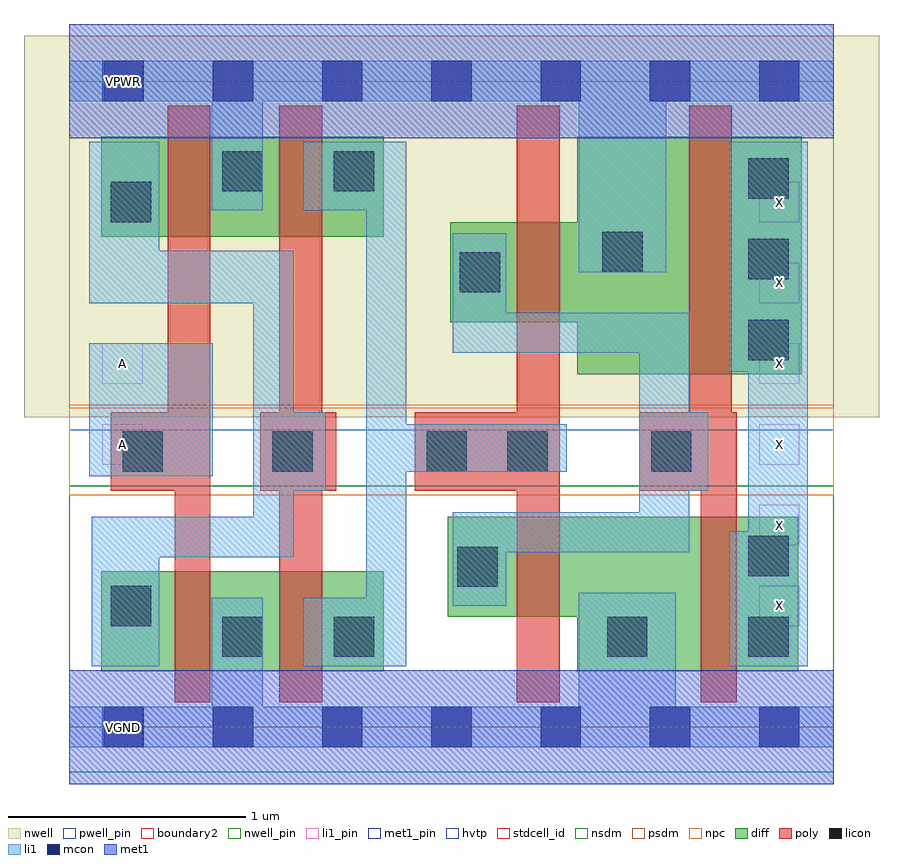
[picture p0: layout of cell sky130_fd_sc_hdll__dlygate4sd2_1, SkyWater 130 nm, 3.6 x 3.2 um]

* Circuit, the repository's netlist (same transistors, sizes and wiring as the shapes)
* Copyright 2020 The SkyWater PDK Authors
*
* Licensed under the Apache License, Version 2.0 (the "License");
* you may not use this file except in compliance with the License.
* You may obtain a copy of the License at
*
*     https://www.apache.org/licenses/LICENSE-2.0
*
* Unless required by applicable law or agreed to in writing, software
* distributed under the License is distributed on an "AS IS" BASIS,
* WITHOUT WARRANTIES OR CONDITIONS OF ANY KIND, either express or implied.
* See the License for the specific language governing permissions and
* limitations under the License.
*
* SPDX-License-Identifier: Apache-2.0

.SUBCKT sky130_fd_sc_hdll__dlygate4sd2_1 A VGND VNB VPB VPWR X
*.PININFO A:I VGND:I VNB:I VPB:I VPWR:I X:O
MMIN1 Ab net34 VGND VNB sky130_fd_pr__nfet_01v8 m=1 w=0.42U l=0.18U mult=1 sa=0.265
+ sb=0.265 sd=0.28 area=0.063 perim=1.14
MMIN2 X Ab VGND VNB sky130_fd_pr__nfet_01v8 m=1 w=0.65U l=0.15U mult=1 sa=0.265
+ sb=0.265 sd=0.28 area=0.063 perim=1.14
MI6 net34 net30 VGND VNB sky130_fd_pr__nfet_01v8 m=1 w=0.42U l=0.18U mult=1 sa=0.265
+ sb=0.265 sd=0.28 area=0.063 perim=1.14
MI9 net30 A VGND VNB sky130_fd_pr__nfet_01v8 m=1 w=0.42U l=0.15U mult=1 sa=0.265
+ sb=0.265 sd=0.28 area=0.063 perim=1.14
MMIP1 Ab net34 VPWR VPB sky130_fd_pr__pfet_01v8_hvt m=1 w=0.42U l=0.18U mult=1
+ sa=0.265 sb=0.265 sd=0.28 area=0.063 perim=1.14
MMIP2 X Ab VPWR VPB sky130_fd_pr__pfet_01v8_hvt m=1 w=1.0U l=0.18U mult=1 sa=0.265
+ sb=0.265 sd=0.28 area=0.063 perim=1.14
MI7 net34 net30 VPWR VPB sky130_fd_pr__pfet_01v8_hvt m=1 w=0.42U l=0.18U mult=1
+ sa=0.265 sb=0.265 sd=0.28 area=0.063 perim=1.14
MI8 net30 A VPWR VPB sky130_fd_pr__pfet_01v8_hvt m=1 w=0.42U l=0.18U mult=1 sa=0.265
+ sb=0.265 sd=0.28 area=0.063 perim=1.14
.ENDS sky130_fd_sc_hdll__dlygate4sd2_1

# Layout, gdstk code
import gdstk
lib = gdstk.Library(unit=1e-6, precision=1e-09)
def R(c, l, rs):  # rectangles x0, y0, x1, y1
    for r in rs: c.add(gdstk.rectangle(r[:2], r[2:], *l))
def A(c, l, x, y, w, h, nx, ny, dx, dy):  # array of equal rectangles
    R(c, l, [(x+i*dx, y+j*dy, x+i*dx+w, y+j*dy+h) for i in range(nx) for j in range(ny)])
def P(c, l, *ps):  # polygons
    for p in ps: c.add(gdstk.Polygon(p, *l))
nwell_pin = (64, 16)
nwell = (64, 20)
diff = (65, 20)
poly = (66, 20)
licon = (66, 44)
li1_pin = (67, 16)
li1 = (67, 20)
mcon = (67, 44)
met1_pin = (68, 16)
met1 = (68, 20)
hvtp = (78, 44)
stdcell_id = (81, 4)
nsdm = (93, 44)
psdm = (94, 20)
npc = (95, 20)
pwell_pin = (122, 16)
boundary2 = (236, 0)

sky130_fd_sc_hdll__dlyga = lib.new_cell('sky130_fd_sc_hdll__dlygate4sd2_1')
R(sky130_fd_sc_hdll__dlyga, nwell_pin, [(0.14,2.635,0.31,2.805)])
R(sky130_fd_sc_hdll__dlyga, nwell, [(-0.19,1.305,3.41,2.91)])
R(sky130_fd_sc_hdll__dlyga, diff, [(0.135,0.235,1.325,0.655), (0.135,2.065,1.325,2.485)])
P(sky130_fd_sc_hdll__dlyga, diff, [(3.085,2.485),(2.14,2.485),(2.14,2.125),(1.605,2.125),(1.605,1.705),(2.14,1.705),(2.14,1.485),(3.085,1.485)],
  [(3.07,0.885),(1.595,0.885),(1.595,0.465),(2.14,0.465),(2.14,0.235),(3.07,0.235)])
P(sky130_fd_sc_hdll__dlyga, poly, [(0.595,2.615),(0.415,2.615),(0.415,1.325),(0.175,1.325),(0.175,0.995),(0.445,0.995),(0.445,0.105),(0.595,0.105)],
  [(1.125,1.325),(1.065,1.325),(1.065,2.615),(0.885,2.615),(0.885,1.325),(0.805,1.325),(0.805,0.995),(0.885,0.995),(0.885,0.105),(1.065,0.105),(1.065,0.995),(1.125,0.995)],
  [(2.065,2.615),(1.885,2.615),(1.885,1.325),(1.455,1.325),(1.455,0.995),(1.885,0.995),(1.885,0.105),(2.065,0.105)],
  [(2.81,1.325),(2.79,1.325),(2.79,2.615),(2.61,2.615),(2.61,1.325),(2.4,1.325),(2.4,0.995),(2.66,0.995),(2.66,0.105),(2.81,0.105)])
A(sky130_fd_sc_hdll__dlyga, licon, 2.86, 1.545, 0.17, 0.17, 1, 3, 0, 0.34)
R(sky130_fd_sc_hdll__dlyga, licon, [(0.645,0.295,0.815,0.465), (1.115,0.295,1.285,0.465), (2.265,0.295,2.435,0.465), (2.86,0.295,3.03,0.465), (0.175,0.425,0.345,0.595), (1.635,0.59,1.805,0.76), (2.86,0.635,3.03,0.805), (0.225,1.075,0.395,1.245), (0.855,1.075,1.025,1.245), (1.505,1.075,1.675,1.245), (1.845,1.075,2.015,1.245), (2.45,1.075,2.62,1.245), (1.645,1.83,1.815,2), (2.245,1.915,2.415,2.085), (0.175,2.125,0.345,2.295), (0.645,2.255,0.815,2.425), (1.115,2.255,1.285,2.425)])
A(sky130_fd_sc_hdll__dlyga, li1_pin, 2.905, 0.425, 0.17, 0.17, 1, 6, 0, 0.34)
R(sky130_fd_sc_hdll__dlyga, li1_pin, [(0.14,1.105,0.31,1.275), (0.14,1.445,0.31,1.615)])
R(sky130_fd_sc_hdll__dlyga, li1, [(0.085,1.055,0.605,1.615)])
P(sky130_fd_sc_hdll__dlyga, li1, [(1.08,1.325),(0.945,1.325),(0.945,2.005),(0.38,2.005),(0.38,2.465),(0.085,2.465),(0.085,1.785),(0.775,1.785),(0.775,0.885),(0.095,0.885),(0.095,0.255),(0.38,0.255),(0.38,0.715),(0.945,0.715),(0.945,0.995),(1.08,0.995)],
  [(2.095,1.275),(1.42,1.275),(1.42,2.465),(0.985,2.465),(0.985,2.175),(1.25,2.175),(1.25,0.545),(0.985,0.545),(0.985,0.255),(1.42,0.255),(1.42,1.075),(2.095,1.075)],
  [(2.69,1.325),(2.61,1.325),(2.61,1.745),(1.84,1.745),(1.84,2.08),(1.615,2.08),(1.615,1.575),(2.4,1.575),(2.4,0.905),(1.615,0.905),(1.615,0.51),(1.84,0.51),(1.84,0.735),(2.61,0.735),(2.61,0.995),(2.69,0.995)],
  [(3.11,2.465),(2.78,2.465),(2.78,1.495),(2.86,1.495),(2.86,0.825),(2.78,0.825),(2.78,0.255),(3.11,0.255)],
  [(3.22,2.805),(0,2.805),(0,2.635),(0.6,2.635),(0.6,2.175),(0.815,2.175),(0.815,2.635),(2.145,2.635),(2.145,1.915),(2.515,1.915),(2.515,2.635),(3.22,2.635)],
  [(3.22,0.085),(2.555,0.085),(2.555,0.565),(2.145,0.565),(2.145,0.085),(0.815,0.085),(0.815,0.545),(0.6,0.545),(0.6,0.085),(0,0.085),(0,-0.085),(3.22,-0.085)])
A(sky130_fd_sc_hdll__dlyga, mcon, 0.145, -0.085, 0.17, 0.17, 7, 2, 0.46, 2.72)
R(sky130_fd_sc_hdll__dlyga, met1_pin, [(0.14,-0.085,0.31,0.085), (0.14,2.635,0.31,2.805)])
R(sky130_fd_sc_hdll__dlyga, met1, [(0,-0.24,3.22,0.24), (0,2.48,3.22,2.96)])
R(sky130_fd_sc_hdll__dlyga, hvtp, [(0,1.25,3.22,2.72)])
R(sky130_fd_sc_hdll__dlyga, stdcell_id, [(0,0,3.22,2.72)])
R(sky130_fd_sc_hdll__dlyga, nsdm, [(0,-0.19,3.22,1.015)])
R(sky130_fd_sc_hdll__dlyga, psdm, [(0,1.355,3.22,2.91)])
R(sky130_fd_sc_hdll__dlyga, npc, [(0,0.975,3.22,1.345)])
R(sky130_fd_sc_hdll__dlyga, pwell_pin, [(0.14,-0.085,0.31,0.085)])
R(sky130_fd_sc_hdll__dlyga, boundary2, [(0,0,3.22,2.72)])
sky130_fd_sc_hdll__dlyga.add(gdstk.Label('A', (0.225,1.53), layer=67, texttype=5))
sky130_fd_sc_hdll__dlyga.add(gdstk.Label('X', (2.99,2.21), layer=67, texttype=5))
sky130_fd_sc_hdll__dlyga.add(gdstk.Label('X', (2.99,1.87), layer=67, texttype=5))
sky130_fd_sc_hdll__dlyga.add(gdstk.Label('X', (2.99,0.51), layer=67, texttype=5))
sky130_fd_sc_hdll__dlyga.add(gdstk.Label('A', (0.225,1.19), layer=67, texttype=5))
sky130_fd_sc_hdll__dlyga.add(gdstk.Label('X', (2.99,0.85), layer=67, texttype=5))
sky130_fd_sc_hdll__dlyga.add(gdstk.Label('X', (2.99,1.19), layer=67, texttype=5))
sky130_fd_sc_hdll__dlyga.add(gdstk.Label('X', (2.99,1.53), layer=67, texttype=5))
sky130_fd_sc_hdll__dlyga.add(gdstk.Label('VPWR', (0.23,2.72), layer=68, texttype=5))
sky130_fd_sc_hdll__dlyga.add(gdstk.Label('VGND', (0.23,0), layer=68, texttype=5))
sky130_fd_sc_hdll__dlyga.add(gdstk.Label('VPB', (0.225,2.72), layer=64, texttype=5))
sky130_fd_sc_hdll__dlyga.add(gdstk.Label('VNB', (0.225,0), layer=64, texttype=59))
sky130_fd_sc_hdll__dlyga.add(gdstk.Label('dlygate4sd2_1', (0,0), layer=83, texttype=44))

lib.write_gds('sky130_fd_sc_hdll__dlygate4sd2_1.gds')
